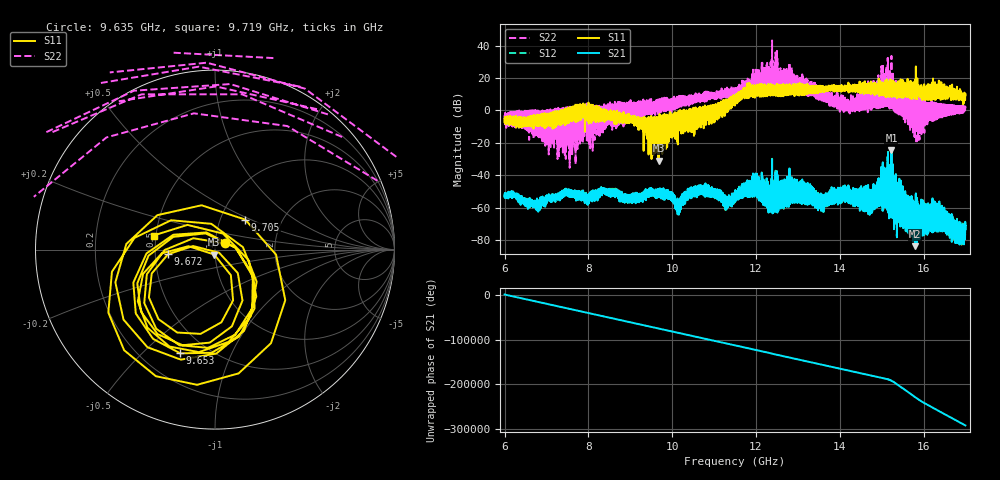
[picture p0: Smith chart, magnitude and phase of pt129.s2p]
#  HZ  S  RI  R  50.00
! Rohde & Schwarz Vector Network Analyzer
! Rohde-Schwarz,ZNA67-2Port,1332450062101215,3.01
! Created: UTC 10/19/2026, 5:32:09 PM
! freq[Hz]  re:S11  im:S11  re:S21  im:S21  re:S12  im:S12  re:S22  im:S22
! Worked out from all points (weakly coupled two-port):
!   11001 points, 6 GHz to 17 GHz, reference 50 ohm
!   highest |S21| = -24.53 dB at 15.23 GHz (marker M1); lowest = -83.9 dB at 15.8 GHz (marker M2)
!   lowest |S11| = -31.1 dB at 9.681 GHz (marker M3), VSWR 1.06, Z = 49.5 - j2.74 ohm
!   |S11| at or under -10 dB: 9.38654 GHz to 9.391342 GHz (4.801 MHz wide, 0.0511 % of centre); 9.398503 GHz to 9.403072 GHz (4.569 MHz wide, 0.0486 % of centre); 9.586565 GHz to 9.591022 GHz (4.457 MHz wide, 0.0465 % of centre) (the widest 3 of 123)
!   |S22| runs from -35.4 to 43.2 dB; largest |S21 - S12| = 0.0041
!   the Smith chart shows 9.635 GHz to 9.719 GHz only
!   S11 on the Smith chart (normalised r, x): 9.635 GHz: 1.11, +0.08; 9.653 GHz: 0.36, -0.66; 9.672 GHz: 0.59, -0.03; 9.705 GHz: 1.31, +0.46; 9.719 GHz: 0.48, +0.09
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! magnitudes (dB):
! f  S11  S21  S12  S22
! 6 GHz  -5.3  -52.5  -52.6  -2.9
! 6.789 GHz  -2.9  -59.8  -60.0  -0.4
! 7.834 GHz  -4.1  -55.7  -55.5  -13.8
! 9.635 GHz  -23.7  -52.5  -52.3  4.9
! 9.653 GHz  -4.3  -52.8  -52.8  0.2
! 9.667 GHz  -7.2  -53.1  -53.3  -1.2
! 9.672 GHz  -11.6  -48.5  -48.5  5.2
! 9.681 GHz  -31.1  -50.9  -51.0  5.0
! 9.705 GHz  -12.5  -51.3  -51.6  4.8
! 9.719 GHz  -9.1  -50.5  -50.5  6.8
! 10.13 GHz  -3.9  -56.9  -56.5  7.2
! 10.68 GHz  -9.2  -51.5  -51.4  7.5
! 11.5 GHz  4.1  -55.3  -55.6  9.8
! 11.97 GHz  8.3  -43.7  -43.9  20.9
! 12.49 GHz  12.3  -60.7  -60.5  11.2
! 13.33 GHz  11.6  -54.3  -54.2  10.8
! 14.2 GHz  13.6  -50.2  -50.6  2.5
! 15.17 GHz  10.8  -58.9  -58.9  4.2
! 15.23 GHz  14.3  -24.5  -25.1  33.6
! 15.8 GHz  9.0  -83.9  -82.7  -16.5
! 16.32 GHz  8.3  -70.4  -71.0  -0.8
! 17 GHz  9.6  -73.4  -73.8  1.7
